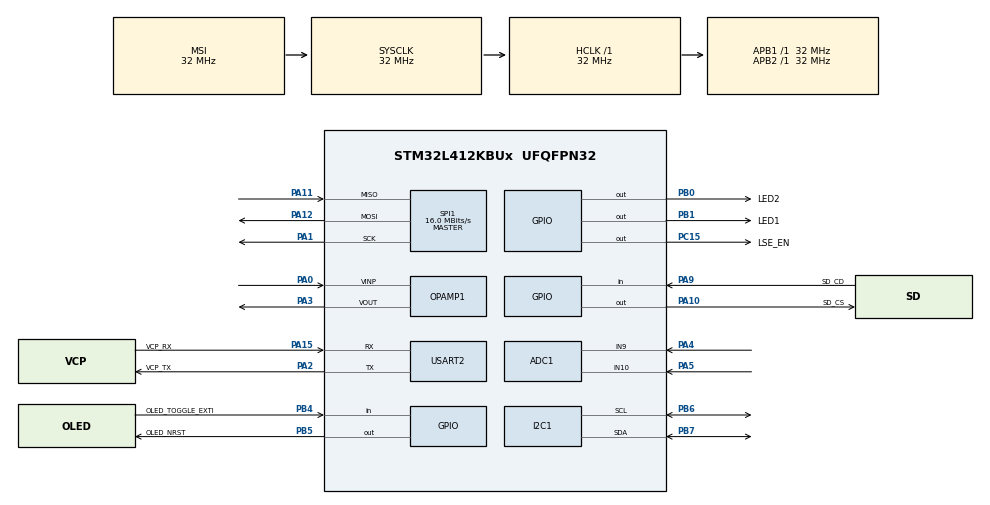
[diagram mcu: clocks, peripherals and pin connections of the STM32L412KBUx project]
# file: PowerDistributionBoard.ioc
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ADC1.Channel-1\#ChannelRegularConversion=ADC_CHANNEL_9
ADC1.NbrOfConversionFlag=1
ADC1.OffsetNumber-1\#ChannelRegularConversion=ADC_OFFSET_NONE
ADC1.Rank-1\#ChannelRegularConversion=1
ADC1.SamplingTime-1\#ChannelRegularConversion=ADC_SAMPLETIME_2CYCLES_5
ADC1.master=1
I2C1.Timing=0x00B07CB4
Mcu.Family=STM32L4
Mcu.Name=STM32L412KBUx
Mcu.Package=UFQFPN32
NVIC.PriorityGroup=NVIC_PRIORITYGROUP_4
PA0-CK_IN.Mode=Follower
PA0-CK_IN.Signal=OPAMP1_VINP
PA1.Mode=Full_Duplex_Master
PA1.Signal=SPI1_SCK
PA10.GPIO_Label=SD_CS
PA10.GPIO_PuPd=GPIO_PULLDOWN
PA10.Signal=GPIO_Output
PA11.Mode=Full_Duplex_Master
PA11.Signal=SPI1_MISO
PA12.Mode=Full_Duplex_Master
PA12.Signal=SPI1_MOSI
PA13\ (JTMS/SWDIO).GPIO_Label=SWDIO
PA13\ (JTMS/SWDIO).Mode=Trace_Asynchronous_SW
PA13\ (JTMS/SWDIO).Signal=SYS_JTMS-SWDIO
PA14\ (JTCK/SWCLK).GPIO_Label=SWCLK
PA14\ (JTCK/SWCLK).Mode=Trace_Asynchronous_SW
PA14\ (JTCK/SWCLK).Signal=SYS_JTCK-SWCLK
PA15\ (JTDI).GPIO_Label=VCP_RX
PA15\ (JTDI).Mode=Asynchronous
PA15\ (JTDI).Signal=USART2_RX
PA2.GPIO_Label=VCP_TX
PA2.Mode=Asynchronous
PA2.Signal=USART2_TX
PA3.Signal=SharedAnalog_PA3
PA4.Signal=ADCx_IN9
PA5.Signal=ADCx_IN10
PA9.GPIO_Label=SD_CD
PA9.GPIO_PuPd=GPIO_PULLUP
PA9.Signal=GPIO_Input
PB0.GPIO_Label=LED2
PB0.GPIO_PuPd=GPIO_PULLDOWN
PB0.Signal=GPIO_Output
PB1.GPIO_Label=LED1
PB1.GPIO_PuPd=GPIO_PULLDOWN
PB1.Signal=GPIO_Output
PB3\ (JTDO/TRACESWO).Mode=Trace_Asynchronous_SW
PB3\ (JTDO/TRACESWO).Signal=SYS_JTDO-SWO
PB4\ (NJTRST).GPIO_Label=OLED_TOGGLE_EXTI
PB4\ (NJTRST).GPIO_PuPd=GPIO_PULLUP
PB4\ (NJTRST).Signal=GPIO_Input
PB5.GPIO_Label=OLED_NRST
PB5.GPIO_PuPd=GPIO_PULLUP
PB5.Signal=GPIO_Output
PB6.Mode=I2C
PB6.Signal=I2C1_SCL
PB7.Mode=I2C
PB7.Signal=I2C1_SDA
PC14-OSC32_IN\ (PC14).Mode=LSE-External-Clock-Source
PC14-OSC32_IN\ (PC14).Signal=RCC_OSC32_IN
PC15-OSC32_OUT\ (PC15).GPIO_Label=LSE_EN
PC15-OSC32_OUT\ (PC15).GPIO_PuPd=GPIO_PULLUP
PC15-OSC32_OUT\ (PC15).Signal=GPIO_Output
ProjectManager.HeapSize=0x200
ProjectManager.StackSize=0x400
ProjectManager.TargetToolchain=STM32CubeIDE
RCC.ADCFreq_Value=32000000
RCC.AHBFreq_Value=32000000
RCC.APB1Freq_Value=32000000
RCC.APB1TimFreq_Value=32000000
RCC.APB2Freq_Value=32000000
RCC.APB2TimFreq_Value=32000000
RCC.CortexFreq_Value=32000000
RCC.FLatency=FLASH_LATENCY_1
RCC.HCLKFreq_Value=32000000
RCC.HSE_VALUE=8000000
RCC.HSI48_VALUE=48000000
RCC.HSICalibrationValue=64
RCC.HSI_VALUE=16000000
RCC.MSIClockRange=RCC_MSIRANGE_10
RCC.MSI_VALUE=32000000
RCC.SYSCLKFreq_VALUE=32000000
RCC.USBFreq_Value=32000000
RCC.VCOOutputFreq_Value=256000000
SH.ADCx_IN10.0=ADC1_IN10,IN10-Single-Ended
SH.ADCx_IN9.0=ADC1_IN9,IN9-Single-Ended
SH.SharedAnalog_PA3.0=ADC1_IN8
SH.SharedAnalog_PA3.1=OPAMP1_VOUT,Follower
SPI1.CalculateBaudRate=16.0 MBits/s
SPI1.Direction=SPI_DIRECTION_2LINES
SPI1.Mode=SPI_MODE_MASTER
SPI1.VirtualType=VM_MASTER
USART2.VirtualMode-Asynchronous=VM_ASYNC
VP_ADC1_OPAMP1_OUT.Mode=IN8-OPAMP1-Single-Ended
VP_FATFS_VS_Generic.Mode=User_defined
board=NUCLEO-L412KB

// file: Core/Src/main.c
/* USER CODE BEGIN Header */
/**
  ******************************************************************************
  * @file           : main.c
  * @brief          : Main program body
  ******************************************************************************
  * @attention
  *
  * Copyright (c) 2025 STMicroelectronics.
  * All rights reserved.
  *
  * This software is licensed under terms that can be found in the LICENSE file
  * in the root directory of this software component.
  * If no LICENSE file comes with this software, it is provided AS-IS.
  *
  ******************************************************************************
  */
/* USER CODE END Header */
#include "main.h"
#include "fatfs.h"

/* USER CODE BEGIN Includes */
#include <string.h>
#include <stdarg.h>
#include <stdio.h>
#include "sdcard.h"
/* USER CODE END Includes */

ADC_HandleTypeDef hadc1;

I2C_HandleTypeDef hi2c1;

OPAMP_HandleTypeDef hopamp1;

SPI_HandleTypeDef hspi1;

UART_HandleTypeDef huart2;

void SystemClock_Config(void);
static void MX_GPIO_Init(void);
static void MX_USART2_UART_Init(void);
static void MX_I2C1_Init(void);
static void MX_SPI1_Init(void);
static void MX_ADC1_Init(void);
static void MX_OPAMP1_Init(void);

/* USER CODE BEGIN 0 */
void UART_Printf(const char* fmt, ...) {
    char buff[256];
    va_list args;
    va_start(args, fmt);
    vsnprintf(buff, sizeof(buff), fmt, args);
    HAL_UART_Transmit(&huart2, (uint8_t*)buff, strlen(buff), HAL_MAX_DELAY);
    va_end(args);
}

void init() {
    int code;
    UART_Printf("Ready!\r\n");
    //MX_SDIO_SD_Init();
    code = SDCARD_Init(); //problems with this code
    UART_Printf("Init code check\r\n");

    FATFS fs;
    FRESULT res = f_mount(&fs, "", 1);
    if (res != FR_OK) {
        UART_Printf("Mount failed: %d - ", res);
        switch(res) {
            case FR_NOT_READY:  UART_Printf("Card not ready/init failed\r\n"); break;
            case FR_DISK_ERR:   UART_Printf("Hard disk error\r\n"); break;
            case FR_NO_FILESYSTEM: UART_Printf("No valid FAT volume\r\n"); break;
            default: UART_Printf("Unknown error\r\n");
        }
        return;
    }
    FIL fil;
    const char* test_str = "SD card test data";
    res = f_open(&fil, "test.txt", FA_CREATE_ALWAYS | FA_WRITE);
    if (res == FR_OK) {
        UINT bytes_written;
        f_write(&fil, test_str, strlen(test_str), &bytes_written);
        f_close(&fil);
        UART_Printf("Wrote %d bytes to file\r\n", bytes_written);
    }

    //code = SDCARD_Init();

    if(code < 0) {
        UART_Printf("SDCARD_Init() failed: code = %d\r\n", code);
        return;
    }

    UART_Printf("SDCARD_Init() done!\r\n");

    uint32_t blocksNum;
    code = SDCARD_GetBlocksNumber(&blocksNum);
    if(code < 0) {
        UART_Printf("SDCARD_GetBlocksNumber() failed: code = %d\r\n", code);
        return;
    }

    UART_Printf("SDCARD_GetBlocksNumber() done! blocksNum = %u (or %u Mb)\r\n",
        blocksNum, blocksNum/2000 /* same as * 512 / 1000 / 1000 */);

    uint32_t startBlockAddr = 0x00ABCD;
    uint32_t blockAddr = startBlockAddr;
    uint8_t block[512];

    snprintf((char*)block, sizeof(block), "0x%08X", (int)blockAddr);

    code = SDCARD_WriteSingleBlock(blockAddr, block);
    if(code < 0) {
        UART_Printf("SDCARD_WriteSingleBlock() failed: code = %d\r\n", code);
        return;
    }
    UART_Printf("SDCARD_WriteSingleBlock(0x%08X, ...) done!\r\n", blockAddr);

    memset(block, 0, sizeof(block));

    code = SDCARD_ReadSingleBlock(blockAddr, block);
    if(code < 0) {
        UART_Printf("SDCARD_ReadSingleBlock() failed: code = %d\r\n", code);
        return;
    }

    UART_Printf("SDCARD_ReadSingleBlock(0x%08X, ...) done! block = \"%c%c%c%c%c%c%c%c%c%c...\"\r\n",
        blockAddr, block[0], block[1], block[2], block[3], block[4], block[5], block[6], block[7], block[8], block[9]);

    blockAddr = startBlockAddr + 1;
    code = SDCARD_WriteBegin(blockAddr);
    if(code < 0) {
        UART_Printf("SDCARD_WriteBegin() failed: code = %d\r\n", code);
        return;
    }
    UART_Printf("SDCARD_WriteBegin(0x%08X, ...) done!\r\n", blockAddr);

    for(int i = 0; i < 3; i++) {
        snprintf((char*)block, sizeof(block), "0x%08X", (int)blockAddr);

        code = SDCARD_WriteData(block);
        if(code < 0) {
            UART_Printf("SDCARD_WriteData() failed: code = %d\r\n", code);
            return;
        }

        UART_Printf("SDCARD_WriteData() done! blockAddr = %08X\r\n", blockAddr);
        blockAddr++;
    }

    code = SDCARD_WriteEnd();
    if(code < 0) {
        UART_Printf("SDCARD_WriteEnd() failed: code = %d\r\n", code);
        return;
    }
    UART_Printf("SDCARD_WriteEnd() done!\r\n");

    blockAddr = startBlockAddr + 1;
    code = SDCARD_ReadBegin(blockAddr);
    if(code < 0) {
        UART_Printf("SDCARD_ReadBegin() failed: code = %d\r\n", code);
        return;
    }
    UART_Printf("SDCARD_ReadBegin(0x%08X, ...) done!\r\n", blockAddr);

    for(int i = 0; i < 3; i++) {
        code = SDCARD_ReadData(block);
        if(code < 0) {
            UART_Printf("SDCARD_ReadData() failed: code = %d\r\n", code);
            return;
        }

        UART_Printf("SDCARD_ReadData() done! block = \"%c%c%c%c%c%c%c%c%c%c...\"\r\n",
            block[0], block[1], block[2], block[3], block[4], block[5], block[6], block[7], block[8], block[9]);
    }

    code = SDCARD_ReadEnd();
    if(code < 0) {
        UART_Printf("SDCARD_ReadEnd() failed: code = %d\r\n", code);
        return;
    }
    UART_Printf("SDCARD_ReadEnd() done!\r\n");
}

void loop() {
    HAL_Delay(500);
}
/* USER CODE END 0 */

int main(void)
{

  /* MCU Configuration--------------------------------------------------------*/

  /* Reset of all peripherals, Initializes the Flash interface and the Systick. */
  HAL_Init();

  /* Configure the system clock */
  SystemClock_Config();

  /* Initialize all configured peripherals */
  MX_GPIO_Init();
  MX_USART2_UART_Init();
  MX_I2C1_Init();
  MX_SPI1_Init();
  MX_FATFS_Init();
  MX_ADC1_Init();
  MX_OPAMP1_Init();
  /* USER CODE BEGIN 2 */
  init();
  HAL_Delay(100);

  /* USER CODE END 2 */

  /* Infinite loop */
  while (1)
  {

  }
}

void SystemClock_Config(void)
{
  RCC_OscInitTypeDef RCC_OscInitStruct = {0};
  RCC_ClkInitTypeDef RCC_ClkInitStruct = {0};

  /** Configure the main internal regulator output voltage
  */
  if (HAL_PWREx_ControlVoltageScaling(PWR_REGULATOR_VOLTAGE_SCALE1) != HAL_OK)
  {
    Error_Handler();
  }

  /** Initializes the RCC Oscillators according to the specified parameters
  * in the RCC_OscInitTypeDef structure.
  */
  RCC_OscInitStruct.OscillatorType = RCC_OSCILLATORTYPE_LSE|RCC_OSCILLATORTYPE_MSI;
  RCC_OscInitStruct.LSEState = RCC_LSE_BYPASS;
  RCC_OscInitStruct.MSIState = RCC_MSI_ON;
  RCC_OscInitStruct.MSICalibrationValue = 0;
  RCC_OscInitStruct.MSIClockRange = RCC_MSIRANGE_10;
  RCC_OscInitStruct.PLL.PLLState = RCC_PLL_NONE;
  if (HAL_RCC_OscConfig(&RCC_OscInitStruct) != HAL_OK)
  {
    Error_Handler();
  }

  /** Initializes the CPU, AHB and APB buses clocks
  */
  RCC_ClkInitStruct.ClockType = RCC_CLOCKTYPE_HCLK|RCC_CLOCKTYPE_SYSCLK
                              |RCC_CLOCKTYPE_PCLK1|RCC_CLOCKTYPE_PCLK2;
  RCC_ClkInitStruct.SYSCLKSource = RCC_SYSCLKSOURCE_MSI;
  RCC_ClkInitStruct.AHBCLKDivider = RCC_SYSCLK_DIV1;
  RCC_ClkInitStruct.APB1CLKDivider = RCC_HCLK_DIV1;
  RCC_ClkInitStruct.APB2CLKDivider = RCC_HCLK_DIV1;

  if (HAL_RCC_ClockConfig(&RCC_ClkInitStruct, FLASH_LATENCY_1) != HAL_OK)
  {
    Error_Handler();
  }

  /** Enable MSI Auto calibration
  */
  HAL_RCCEx_EnableMSIPLLMode();
}

static void MX_ADC1_Init(void)
{

  ADC_MultiModeTypeDef multimode = {0};
  ADC_ChannelConfTypeDef sConfig = {0};

  /** Common config
  */
  hadc1.Instance = ADC1;
  hadc1.Init.ClockPrescaler = ADC_CLOCK_ASYNC_DIV1;
  hadc1.Init.Resolution = ADC_RESOLUTION_12B;
  hadc1.Init.DataAlign = ADC_DATAALIGN_RIGHT;
  hadc1.Init.ScanConvMode = ADC_SCAN_DISABLE;
  hadc1.Init.EOCSelection = ADC_EOC_SINGLE_CONV;
  hadc1.Init.LowPowerAutoWait = DISABLE;
  hadc1.Init.ContinuousConvMode = DISABLE;
  hadc1.Init.NbrOfConversion = 1;
  hadc1.Init.DiscontinuousConvMode = DISABLE;
  hadc1.Init.ExternalTrigConv = ADC_SOFTWARE_START;
  hadc1.Init.ExternalTrigConvEdge = ADC_EXTERNALTRIGCONVEDGE_NONE;
  hadc1.Init.DMAContinuousRequests = DISABLE;
  hadc1.Init.Overrun = ADC_OVR_DATA_PRESERVED;
  hadc1.Init.OversamplingMode = DISABLE;
  if (HAL_ADC_Init(&hadc1) != HAL_OK)
  {
    Error_Handler();
  }

  /** Configure the ADC multi-mode
  */
  multimode.Mode = ADC_MODE_INDEPENDENT;
  if (HAL_ADCEx_MultiModeConfigChannel(&hadc1, &multimode) != HAL_OK)
  {
    Error_Handler();
  }

  /** Configure Regular Channel
  */
  sConfig.Channel = ADC_CHANNEL_9;
  sConfig.Rank = ADC_REGULAR_RANK_1;
  sConfig.SamplingTime = ADC_SAMPLETIME_2CYCLES_5;
  sConfig.SingleDiff = ADC_SINGLE_ENDED;
  sConfig.OffsetNumber = ADC_OFFSET_NONE;
  sConfig.Offset = 0;
  if (HAL_ADC_ConfigChannel(&hadc1, &sConfig) != HAL_OK)
  {
    Error_Handler();
  }

}

static void MX_I2C1_Init(void)
{

  hi2c1.Instance = I2C1;
  hi2c1.Init.Timing = 0x00B07CB4;
  hi2c1.Init.OwnAddress1 = 0;
  hi2c1.Init.AddressingMode = I2C_ADDRESSINGMODE_7BIT;
  hi2c1.Init.DualAddressMode = I2C_DUALADDRESS_DISABLE;
  hi2c1.Init.OwnAddress2 = 0;
  hi2c1.Init.OwnAddress2Masks = I2C_OA2_NOMASK;
  hi2c1.Init.GeneralCallMode = I2C_GENERALCALL_DISABLE;
  hi2c1.Init.NoStretchMode = I2C_NOSTRETCH_DISABLE;
  if (HAL_I2C_Init(&hi2c1) != HAL_OK)
  {
    Error_Handler();
  }

  /** Configure Analogue filter
  */
  if (HAL_I2CEx_ConfigAnalogFilter(&hi2c1, I2C_ANALOGFILTER_ENABLE) != HAL_OK)
  {
    Error_Handler();
  }

  /** Configure Digital filter
  */
  if (HAL_I2CEx_ConfigDigitalFilter(&hi2c1, 0) != HAL_OK)
  {
    Error_Handler();
  }

}

static void MX_OPAMP1_Init(void)
{

  hopamp1.Instance = OPAMP1;
  hopamp1.Init.PowerSupplyRange = OPAMP_POWERSUPPLY_LOW;
  hopamp1.Init.Mode = OPAMP_FOLLOWER_MODE;
  hopamp1.Init.NonInvertingInput = OPAMP_NONINVERTINGINPUT_IO0;
  hopamp1.Init.PowerMode = OPAMP_POWERMODE_NORMALPOWER;
  hopamp1.Init.UserTrimming = OPAMP_TRIMMING_FACTORY;
  if (HAL_OPAMP_Init(&hopamp1) != HAL_OK)
  {
    Error_Handler();
  }

}

static void MX_SPI1_Init(void)
{

  /* SPI1 parameter configuration*/
  hspi1.Instance = SPI1;
  hspi1.Init.Mode = SPI_MODE_MASTER;
  hspi1.Init.Direction = SPI_DIRECTION_2LINES;
  hspi1.Init.DataSize = SPI_DATASIZE_4BIT;
  hspi1.Init.CLKPolarity = SPI_POLARITY_LOW;
  hspi1.Init.CLKPhase = SPI_PHASE_1EDGE;
  hspi1.Init.NSS = SPI_NSS_SOFT;
  hspi1.Init.BaudRatePrescaler = SPI_BAUDRATEPRESCALER_2;
  hspi1.Init.FirstBit = SPI_FIRSTBIT_MSB;
  hspi1.Init.TIMode = SPI_TIMODE_DISABLE;
  hspi1.Init.CRCCalculation = SPI_CRCCALCULATION_DISABLE;
  hspi1.Init.CRCPolynomial = 7;
  hspi1.Init.CRCLength = SPI_CRC_LENGTH_DATASIZE;
  hspi1.Init.NSSPMode = SPI_NSS_PULSE_ENABLE;
  if (HAL_SPI_Init(&hspi1) != HAL_OK)
  {
    Error_Handler();
  }

}

static void MX_USART2_UART_Init(void)
{

  huart2.Instance = USART2;
  huart2.Init.BaudRate = 115200;
  huart2.Init.WordLength = UART_WORDLENGTH_8B;
  huart2.Init.StopBits = UART_STOPBITS_1;
  huart2.Init.Parity = UART_PARITY_NONE;
  huart2.Init.Mode = UART_MODE_TX_RX;
  huart2.Init.HwFlowCtl = UART_HWCONTROL_NONE;
  huart2.Init.OverSampling = UART_OVERSAMPLING_16;
  huart2.Init.OneBitSampling = UART_ONE_BIT_SAMPLE_DISABLE;
  huart2.AdvancedInit.AdvFeatureInit = UART_ADVFEATURE_NO_INIT;
  if (HAL_UART_Init(&huart2) != HAL_OK)
  {
    Error_Handler();
  }

}

static void MX_GPIO_Init(void)
{
  GPIO_InitTypeDef GPIO_InitStruct = {0};

  /* GPIO Ports Clock Enable */
  __HAL_RCC_GPIOC_CLK_ENABLE();
  __HAL_RCC_GPIOA_CLK_ENABLE();
  __HAL_RCC_GPIOB_CLK_ENABLE();

  /*Configure GPIO pin Output Level */
  HAL_GPIO_WritePin(LSE_EN_GPIO_Port, LSE_EN_Pin, GPIO_PIN_RESET);

  /*Configure GPIO pin Output Level */
  HAL_GPIO_WritePin(GPIOB, LED2_Pin|LED1_Pin|OLED_NRST_Pin, GPIO_PIN_RESET);

  /*Configure GPIO pin Output Level */
  HAL_GPIO_WritePin(SD_CS_GPIO_Port, SD_CS_Pin, GPIO_PIN_RESET);

  /*Configure GPIO pin : LSE_EN_Pin */
  GPIO_InitStruct.Pin = LSE_EN_Pin;
  GPIO_InitStruct.Mode = GPIO_MODE_OUTPUT_PP;
  GPIO_InitStruct.Pull = GPIO_PULLUP;
  GPIO_InitStruct.Speed = GPIO_SPEED_FREQ_LOW;
  HAL_GPIO_Init(LSE_EN_GPIO_Port, &GPIO_InitStruct);

  /*Configure GPIO pins : LED2_Pin LED1_Pin */
  GPIO_InitStruct.Pin = LED2_Pin|LED1_Pin;
  GPIO_InitStruct.Mode = GPIO_MODE_OUTPUT_PP;
  GPIO_InitStruct.Pull = GPIO_PULLDOWN;
  GPIO_InitStruct.Speed = GPIO_SPEED_FREQ_LOW;
  HAL_GPIO_Init(GPIOB, &GPIO_InitStruct);

  /*Configure GPIO pin : SD_CD_Pin */
  GPIO_InitStruct.Pin = SD_CD_Pin;
  GPIO_InitStruct.Mode = GPIO_MODE_INPUT;
  GPIO_InitStruct.Pull = GPIO_PULLUP;
  HAL_GPIO_Init(SD_CD_GPIO_Port, &GPIO_InitStruct);

  /*Configure GPIO pin : SD_CS_Pin */
  GPIO_InitStruct.Pin = SD_CS_Pin;
  GPIO_InitStruct.Mode = GPIO_MODE_OUTPUT_PP;
  GPIO_InitStruct.Pull = GPIO_PULLDOWN;
  GPIO_InitStruct.Speed = GPIO_SPEED_FREQ_LOW;
  HAL_GPIO_Init(SD_CS_GPIO_Port, &GPIO_InitStruct);

  /*Configure GPIO pin : OLED_TOGGLE_EXTI_Pin */
  GPIO_InitStruct.Pin = OLED_TOGGLE_EXTI_Pin;
  GPIO_InitStruct.Mode = GPIO_MODE_INPUT;
  GPIO_InitStruct.Pull = GPIO_PULLUP;
  HAL_GPIO_Init(OLED_TOGGLE_EXTI_GPIO_Port, &GPIO_InitStruct);

  /*Configure GPIO pin : OLED_NRST_Pin */
  GPIO_InitStruct.Pin = OLED_NRST_Pin;
  GPIO_InitStruct.Mode = GPIO_MODE_OUTPUT_PP;
  GPIO_InitStruct.Pull = GPIO_PULLUP;
  GPIO_InitStruct.Speed = GPIO_SPEED_FREQ_LOW;
  HAL_GPIO_Init(OLED_NRST_GPIO_Port, &GPIO_InitStruct);

}

void Error_Handler(void)
{
  __disable_irq();
  while (1)
  {
  }
}
